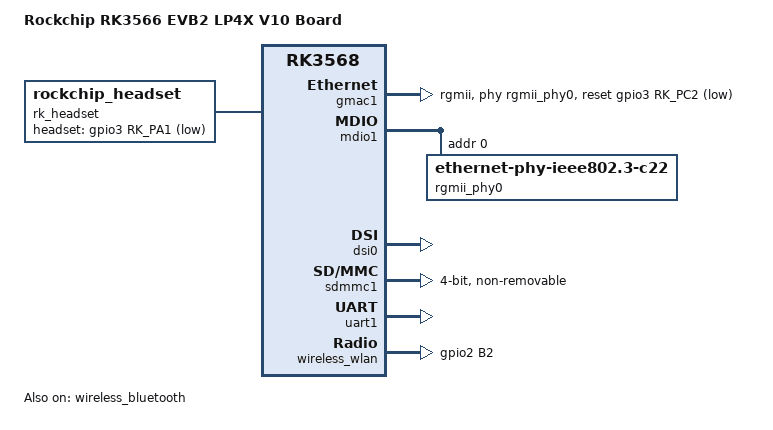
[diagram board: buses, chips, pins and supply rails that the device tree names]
// SPDX-License-Identifier: (GPL-2.0+ OR MIT)
/*
 * Copyright (c) 2020 Rockchip Electronics Co., Ltd.
 *
 */

/dts-v1/;

#include <dt-bindings/gpio/gpio.h>
#include <dt-bindings/pinctrl/rockchip.h>
#include "rk3568-evb.dtsi"
#include "rk3568-android.dtsi"

/ {
	model = "Rockchip RK3566 EVB2 LP4X V10 Board";
	compatible = "rockchip,rk3566-evb2-lp4x-v10", "rockchip,rk3568";

	rk_headset: rk-headset {
		compatible = "rockchip_headset";
		headset_gpio = <&gpio3 RK_PA1 GPIO_ACTIVE_LOW>;
		pinctrl-names = "default";
		pinctrl-0 = <&hp_det>;
	};
};

&gmac1 {
	phy-mode = "rgmii";
	clock_in_out = "output";

	snps,reset-gpio = <&gpio3 RK_PC2 GPIO_ACTIVE_LOW>;
	snps,reset-active-low;
	/* Reset time is 20ms, 100ms for rtl8211f */
	snps,reset-delays-us = <0 20000 100000>;

	assigned-clocks = <&cru SCLK_GMAC1_RX_TX>, <&cru SCLK_GMAC1>;
	assigned-clock-parents = <&cru SCLK_GMAC1_RGMII_SPEED>;
	assigned-clock-rates = <0>, <125000000>;

	pinctrl-names = "default";
	pinctrl-0 = <&gmac1m1_miim_pins &gmac1m1_rgmii_pins>;

	tx_delay = <0x4f>;
	rx_delay = <0x25>;

	phy-handle = <&rgmii_phy0>;
	status = "okay";
};

&mdio1 {
	rgmii_phy0: phy@0 {
		compatible = "ethernet-phy-ieee802.3-c22";
		reg = <0x0>;
	};
};

&dsi0 {
	status = "okay";
};

&dsi1 {
	status = "disabled";
};

&dsi0_panel {
	power-supply = <&vcc3v3_lcd0_n>;
	reset-gpios = <&gpio3 RK_PA3 GPIO_ACTIVE_LOW>;
	pinctrl-names = "default";
	pinctrl-0 = <&lcd0_rst_gpio>;
};

&dsi1_panel {
	power-supply = <&vcc3v3_lcd1_n>;
	reset-gpios = <&gpio3 RK_PA4 GPIO_ACTIVE_LOW>;
	pinctrl-names = "default";
	pinctrl-0 = <&lcd1_rst_gpio>;
};

/*
 * power-supply should switche to vcc3v3_lcd1_n
 * when mipi panel is connected to dsi1.
 */
&gt1x {
	power-supply = <&vcc3v3_lcd0_n>;
};

&pinctrl {
	headphone {
		hp_det: hp-det {
			rockchip,pins = <3 RK_PA1 RK_FUNC_GPIO &pcfg_pull_down>;
		};
	};

	sdio-pwrseq {
		wifi_enable_h: wifi-enable-h {
			rockchip,pins = <2 RK_PB1 RK_FUNC_GPIO &pcfg_pull_none>;
		};
	};

	wireless-wlan {
		wifi_host_wake_irq: wifi-host-wake-irq {
			rockchip,pins = <2 RK_PB2 RK_FUNC_GPIO &pcfg_pull_down>;
		};
	};

	wireless-bluetooth {
		uart1_gpios: uart1-gpios {
			rockchip,pins = <2 RK_PB5 RK_FUNC_GPIO &pcfg_pull_none>;
		};
	};

	lcd0 {
		lcd0_rst_gpio: lcd0-rst-gpio {
			rockchip,pins = <3 RK_PA3 RK_FUNC_GPIO &pcfg_pull_none>;
		};
	};

	lcd1 {
		lcd1_rst_gpio: lcd1-rst-gpio {
			rockchip,pins = <3 RK_PA4 RK_FUNC_GPIO &pcfg_pull_none>;
		};
	};
};

&sdmmc2 {
	status = "disabled";
};

&sdmmc1 {
	max-frequency = <150000000>;
	supports-sdio;
	bus-width = <4>;
	disable-wp;
	cap-sd-highspeed;
	cap-sdio-irq;
	keep-power-in-suspend;
	mmc-pwrseq = <&sdio_pwrseq>;
	non-removable;
	pinctrl-names = "default";
	pinctrl-0 = <&sdmmc1_bus4 &sdmmc1_cmd &sdmmc1_clk>;
	sd-uhs-sdr104;
	status = "okay";
};

&sdio_pwrseq {
	compatible = "mmc-pwrseq-simple";
	clocks = <&rk809 1>;
	clock-names = "ext_clock";
	pinctrl-names = "default";
	pinctrl-0 = <&wifi_enable_h>;

	/*
	 * On the module itself this is one of these (depending
	 * on the actual card populated):
	 * - SDIO_RESET_L_WL_REG_ON
	 * - PDN (power down when low)
	 */
	reset-gpios = <&gpio2 RK_PB1 GPIO_ACTIVE_LOW>;
};

&uart1 {
	status = "okay";
	pinctrl-names = "default";
	pinctrl-0 = <&uart1m0_xfer &uart1ctsnm0>;
};

&vcc3v3_lcd0_n {
	gpio = <&gpio0 RK_PC7 GPIO_ACTIVE_HIGH>;
	enable-active-high;
};

&vcc3v3_lcd1_n {
	gpio = <&gpio0 RK_PC5 GPIO_ACTIVE_HIGH>;
	enable-active-high;
};
&wireless_wlan {
	compatible = "wlan-platdata";
	rockchip,grf = <&grf>;
	pinctrl-names = "default";
	pinctrl-0 = <&wifi_host_wake_irq>;
	wifi_chip_type = "ap6398s";
	WIFI,host_wake_irq = <&gpio2 RK_PB2 GPIO_ACTIVE_HIGH>;
	status = "okay";
};

&wireless_bluetooth {
	compatible = "bluetooth-platdata";
	clocks = <&rk809 1>;
	clock-names = "ext_clock";
	//wifi-bt-power-toggle;
	uart_rts_gpios = <&gpio2 RK_PB5 GPIO_ACTIVE_LOW>;
	pinctrl-names = "default", "rts_gpio";
	pinctrl-0 = <&uart1rtsnm0>;
	pinctrl-1 = <&uart1_gpios>;
	BT,reset_gpio    = <&gpio2 RK_PB7 GPIO_ACTIVE_HIGH>;
	BT,wake_gpio     = <&gpio2 RK_PC1 GPIO_ACTIVE_HIGH>;
	BT,wake_host_irq = <&gpio2 RK_PC0 GPIO_ACTIVE_HIGH>;
	status = "okay";
};

